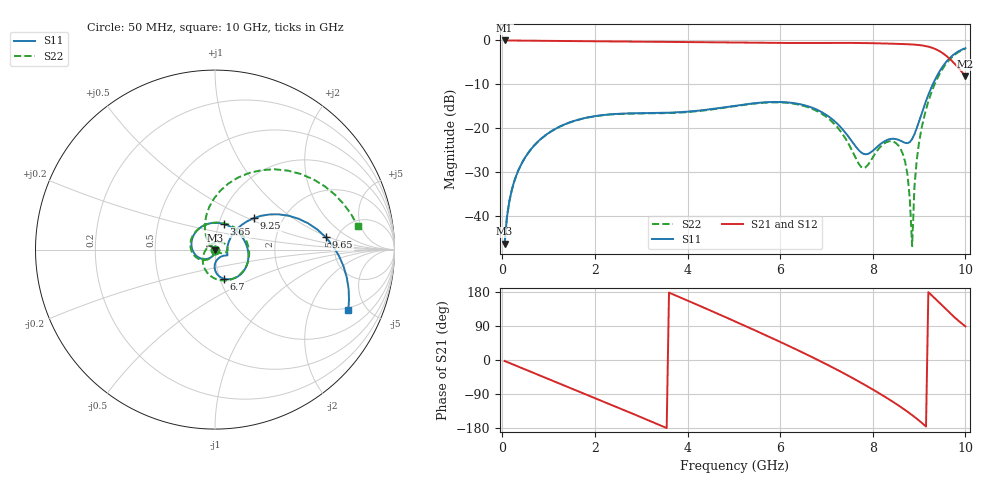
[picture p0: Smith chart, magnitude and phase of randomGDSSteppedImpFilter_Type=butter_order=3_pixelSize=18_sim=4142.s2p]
! freq	dB(S11)	phase(S11)	dB(S12)	phase(S12)
!  dB(S21)	phase(S21)	dB(S22)	phase(S22)
!S-par simulation data
#  GHz  S  DB  R 50
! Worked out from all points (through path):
!   200 points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, 50 MHz to 10 GHz, reference 50 ohm
!   highest |S21| = 0.00 dB at 50 MHz (marker M1); lowest = -8.2 dB at 10 GHz (marker M2)
!   group delay of S21, straight-line fit = 164 ps
!   lowest |S11| = -46.3 dB at 50 MHz (marker M3), VSWR 1.01, Z = 50 - j0.485 ohm
!   |S11| at or under -10 dB: start of sweep to 9.296 GHz
!   |S22| runs from -46.8 to -1.9 dB; largest |S21 - S12| = 0
!   S11 on the Smith chart (normalised r, x): 50 MHz: 1.00, -0.01; 3.65 GHz: 1.06, +0.31; 6.7 GHz: 1.05, -0.35; 9.25 GHz: 1.43, +0.54; 9.65 GHz: 4.06, +0.91; 10 GHz: 1.85, -3.74
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0.05  -46.27 -91.9  -0.00 -2.5  -0.00 -2.5  -46.27 -91.6
0.2  -34.27 -100.5  -0.02 -10.1  -0.02 -10.1  -34.27 -99.4
0.5  -26.54 -116.9  -0.04 -25.2  -0.04 -25.2  -26.54 -114.2
1.75  -17.75 175.5  -0.17 -87.9  -0.17 -87.9  -17.77 -173.9
2.5  -16.71 134.4  -0.24 -125.7  -0.24 -125.7  -16.75 151.3
3.4  -16.50 84.6  -0.31 -171.8  -0.31 -171.8  -16.59 108.8
3.65  -16.43 71.1  -0.33 175.2  -0.33 175.2  -16.52 96.3
4.3  -15.91 37.6  -0.39 141.0  -0.39 141.0  -16.01 61.9
5.05  -14.83 2.0  -0.48 100.6  -0.48 100.6  -14.91 18.5
5.8  -14.02 -32.3  -0.56 59.1  -0.56 59.1  -14.11 -27.3
6.7  -15.35 -72.3  -0.58 7.0  -0.58 7.0  -15.62 -86.8
7.25  -19.13 -90.3  -0.56 -27.0  -0.56 -27.0  -19.97 -132.0
7.8  -25.82 -64.1  -0.59 -63.7  -0.59 -63.7  -29.08 118.9
8.35  -22.51 -26.0  -0.72 -103.7  -0.72 -103.7  -22.97 9.9
8.7  -23.32 -7.6  -0.84 -132.1  -0.84 -132.1  -27.68 -29.3
8.8  -23.14 9.4  -0.88 -140.9  -0.88 -140.9  -36.10 -49.1
8.85  -22.47 19.1  -0.92 -145.4  -0.92 -145.4  -46.85 -150.2
8.9  -21.36 27.9  -0.95 -150.1  -0.95 -150.1  -33.33 146.8
8.95  -19.96 34.8  -0.99 -154.9  -0.99 -154.9  -27.18 135.8
9.25  -11.10 39.1  -1.57 173.3  -1.57 173.3  -12.31 97.3
9.65  -4.13 6.3  -4.07 125.8  -4.07 125.8  -4.45 47.2
10  -1.77 -24.5  -8.16 88.8  -8.16 88.8  -1.88 9.4
